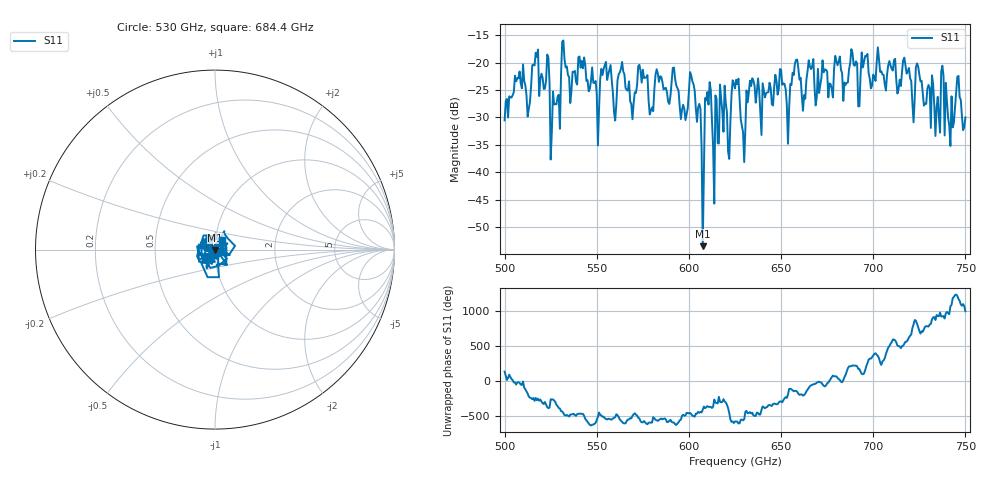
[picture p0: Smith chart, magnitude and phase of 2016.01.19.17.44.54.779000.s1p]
!Created with skrf (http://scikit-rf.org).
# GHz S RI R 50.0
!freq ReS11 ImS11
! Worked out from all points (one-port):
!   401 points, 500 GHz to 750 GHz, reference 50 ohm
!   lowest |S11| = -53.5 dB at 607.5 GHz (marker M1), VSWR 1.00, Z = 50.1 - j0.177 ohm
!   |S11| at or under -10 dB: start of sweep to end of sweep
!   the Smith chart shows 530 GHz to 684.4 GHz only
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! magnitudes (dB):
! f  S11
! 500 GHz  -30.5
! 506.9 GHz  -22.8
! 513.1 GHz  -28.4
! 516.9 GHz  -18.2
! 526.2 GHz  -25.3
! 531.2 GHz  -16.2
! 550 GHz  -25.7
! 562.5 GHz  -21.8
! 569.4 GHz  -30.3
! 573.8 GHz  -21.5
! 579.4 GHz  -28.7
! 583.1 GHz  -22.0
! 593.8 GHz  -24.6
! 601.9 GHz  -23.4
! 607.5 GHz  -53.5
! 610 GHz  -25.4
! 614.4 GHz  -26.0
! 618.1 GHz  -28.9
! 621.9 GHz  -37.6
! 625 GHz  -24.7
! 629.4 GHz  -32.7
! 633.8 GHz  -24.3
! 653.8 GHz  -34.8
! 656.2 GHz  -21.9
! 687.5 GHz  -20.1
! 718.8 GHz  -21.6
! 746.2 GHz  -22.4
! 750 GHz  -30.0
